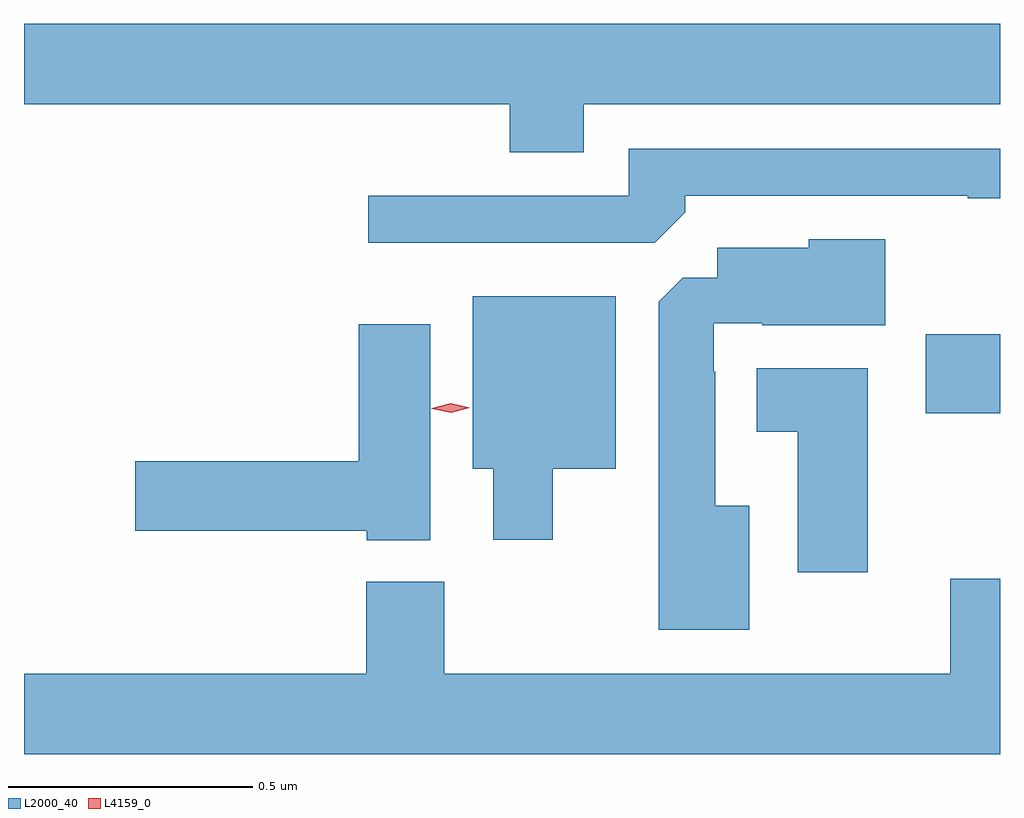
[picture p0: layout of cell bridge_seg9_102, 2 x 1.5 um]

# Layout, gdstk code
import gdstk
lib = gdstk.Library(unit=1e-6, precision=1e-09)
def R(c, l, rs):  # rectangles x0, y0, x1, y1
    for r in rs: c.add(gdstk.rectangle(r[:2], r[2:], *l))
def P(c, l, *ps):  # polygons
    for p in ps: c.add(gdstk.Polygon(p, *l))
L2000_40 = (2000, 40)
L4159_0 = (4159, 0)

bridge_seg9_102 = lib.new_cell('bridge_seg9_102')
R(bridge_seg9_102, L2000_40, [(782.784,1167.814,782.936,1167.976)])
P(bridge_seg9_102, L2000_40, [(782.083,1168.448),(782.936,1168.448),(782.936,1168.612),(780.936,1168.612),(780.936,1168.448),(781.931,1168.448),(781.931,1168.349),(782.083,1168.349)],
  [(782.291,1168.226),(782.291,1168.26),(782.87,1168.26),(782.87,1168.255),(782.936,1168.255),(782.936,1168.356),(782.175,1168.356),(782.175,1168.26),(781.641,1168.26),(781.641,1168.164),(782.229,1168.164)],
  [(782.422,1167.625),(782.353,1167.625),(782.353,1167.899),(782.349,1167.899),(782.349,1167.999),(782.449,1167.999),(782.449,1167.995),(782.701,1167.995),(782.701,1168.171),(782.544,1168.171),(782.544,1168.153),(782.357,1168.153),(782.357,1168.092),(782.286,1168.092),(782.237,1168.043),(782.237,1167.371),(782.422,1167.371)],
  [(782.02,1167.701),(782.149,1167.701),(782.149,1168.054),(781.856,1168.054),(781.856,1167.701),(781.898,1167.701),(781.898,1167.555),(782.02,1167.555)],
  [(781.768,1167.997),(781.622,1167.997),(781.622,1167.716),(781.164,1167.716),(781.164,1167.574),(781.638,1167.574),(781.638,1167.554),(781.768,1167.554)],
  [(782.665,1167.907),(782.438,1167.907),(782.438,1167.776),(782.522,1167.776),(782.522,1167.489),(782.665,1167.489)],
  [(782.936,1167.475),(782.834,1167.475),(782.834,1167.28),(781.797,1167.28),(781.797,1167.469),(781.637,1167.469),(781.637,1167.28),(780.936,1167.28),(780.936,1167.116),(782.936,1167.116)])
P(bridge_seg9_102, L4159_0, [(781.811,1167.815),(781.772,1167.824),(781.772,1167.825),(781.772,1167.825),(781.81,1167.835),(781.849,1167.826),(781.849,1167.826),(781.849,1167.826)])

lib.write_gds('bridge_seg9_102.gds')
